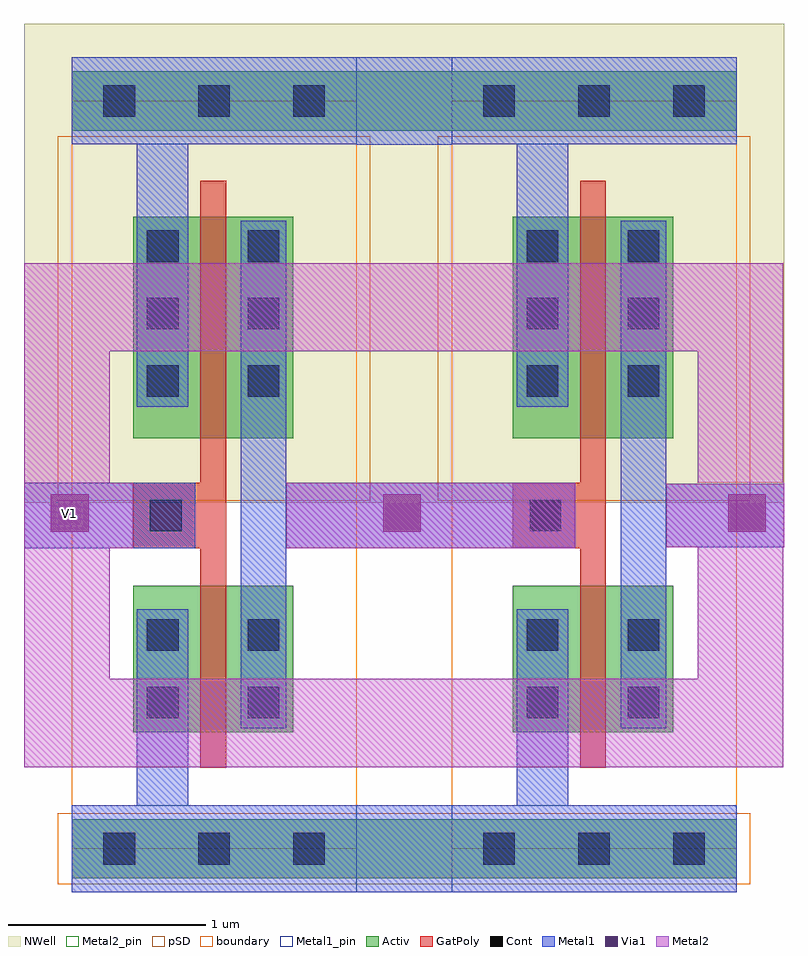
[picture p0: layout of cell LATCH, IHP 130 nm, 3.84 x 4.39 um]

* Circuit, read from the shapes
.subckt LATCH V1 VDD VSS
XM1 sg13g2_inv_1_1/A V1 VSS VSS sg13_lv_nmos w=0.74u l=0.13u
XM2 V1 sg13g2_inv_1_1/A VSS VSS sg13_lv_nmos w=0.74u l=0.13u
XM3 sg13g2_inv_1_1/A V1 VDD VDD sg13_lv_pmos w=1.12u l=0.13u
XM4 V1 sg13g2_inv_1_1/A VDD VDD sg13_lv_pmos w=1.12u l=0.13u
.ends

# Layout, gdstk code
import gdstk
lib = gdstk.Library(unit=1e-6, precision=1e-09)
def R(c, l, rs):  # rectangles x0, y0, x1, y1
    for r in rs: c.add(gdstk.rectangle(r[:2], r[2:], *l))
def A(c, l, x, y, w, h, nx, ny, dx, dy):  # array of equal rectangles
    R(c, l, [(x+i*dx, y+j*dy, x+i*dx+w, y+j*dy+h) for i in range(nx) for j in range(ny)])
def P(c, l, *ps):  # polygons
    for p in ps: c.add(gdstk.Polygon(p, *l))
Activ = (1, 0)
GatPoly = (5, 0)
Cont = (6, 0)
Metal1 = (8, 0)
Metal1_pin = (8, 2)
Metal2 = (10, 0)
Metal2_pin = (10, 2)
pSD = (14, 0)
Via1 = (19, 0)
NWell = (31, 0)
boundary = (189, 4)

sg13g2_inv_1 = lib.new_cell('sg13g2_inv_1')
R(sg13g2_inv_1, Activ, [(3.733,1.363,5.173,1.663), (4.043,2.103,4.853,2.843), (4.043,3.588,4.853,4.708), (3.733,5.143,5.173,5.443)])
P(sg13g2_inv_1, GatPoly, [(4.383,1.923),(4.383,3.033),(4.043,3.033),(4.043,3.363),(4.383,3.363),(4.383,4.888),(4.513,4.888),(4.513,1.923)])
A(sg13g2_inv_1, Cont, 4.113, 3.798, 0.16, 0.16, 1, 3, 0, 0.34)
A(sg13g2_inv_1, Cont, 4.623, 3.798, 0.16, 0.16, 1, 3, 0, 0.34)
R(sg13g2_inv_1, Cont, [(3.893,1.433,4.053,1.593), (3.893,1.433,4.053,1.593), (4.373,1.433,4.533,1.593), (4.373,1.433,4.533,1.593), (4.853,1.433,5.013,1.593), (4.853,1.433,5.013,1.593), (4.113,2.173,4.273,2.333), (4.623,2.173,4.783,2.333), (4.113,2.513,4.273,2.673), (4.623,2.513,4.783,2.673), (4.128,3.118,4.288,3.278), (3.893,5.213,4.053,5.373), (3.893,5.213,4.053,5.373), (4.373,5.213,4.533,5.373), (4.373,5.213,4.533,5.373), (4.853,5.213,5.013,5.373), (4.853,5.213,5.013,5.373)])
R(sg13g2_inv_1, Metal1, [(4.588,2.123,4.818,4.688), (4.043,3.033,4.358,3.363)])
P(sg13g2_inv_1, Metal1, [(4.063,3.748),(4.063,5.073),(3.733,5.073),(3.733,5.513),(5.173,5.513),(5.173,5.073),(4.323,5.073),(4.323,3.748)],
  [(3.733,1.293),(3.733,1.733),(4.063,1.733),(4.063,2.723),(4.323,2.723),(4.323,1.733),(5.173,1.733),(5.173,1.293)])
R(sg13g2_inv_1, Metal1_pin, [(3.733,1.293,5.173,1.733), (4.588,2.123,4.818,4.688), (4.043,3.033,4.358,3.363), (3.733,5.073,5.173,5.513)])
R(sg13g2_inv_1, pSD, [(3.663,1.333,5.243,1.693), (3.663,3.273,5.243,5.113)])
R(sg13g2_inv_1, NWell, [(3.493,3.263,5.413,5.683)])
R(sg13g2_inv_1, boundary, [(3.733,1.513,5.173,5.293)])
sg13g2_inv_1.add(gdstk.Label('Y', (4.713,3.203), layer=8, texttype=25))
sg13g2_inv_1.add(gdstk.Label('A', (4.213,3.193), layer=8, texttype=25))
sg13g2_inv_1.add(gdstk.Label('VSS', (4.453,1.493), layer=8, texttype=25))
sg13g2_inv_1.add(gdstk.Label('VDD', (4.438,5.293), layer=8, texttype=25))

latch = lib.new_cell('LATCH')
R(latch, Activ, [(7.781,3.971,8.261,4.271), (7.781,7.751,8.263,8.051)])
R(latch, Metal1, [(7.781,3.901,8.261,4.341), (6.1,5.641,6.966,5.971), (7.426,5.641,8.886,5.97), (9.116,5.645,9.941,5.965), (7.781,7.68,8.263,8.121)])
R(latch, Metal2, [(6.1,4.534,9.938,4.98), (9.505,4.534,9.938,5.645), (6.1,4.86,6.533,5.971), (6.1,5.641,6.651,5.971), (7.426,5.641,8.886,5.97), (9.346,5.645,9.941,5.965), (6.1,5.97,6.533,7.081), (9.505,5.97,9.938,7.081), (6.1,6.635,9.938,7.081)])
R(latch, Metal2_pin, [(6.265,5.75,6.395,5.88)])
R(latch, pSD, [(7.851,3.941,8.191,4.301)])
R(latch, Via1, [(6.236,5.723,6.426,5.913), (7.915,5.723,8.105,5.913), (9.66,5.723,9.85,5.913)])
latch.add(gdstk.Reference(sg13g2_inv_1, (2.608,2.608)))
latch.add(gdstk.Reference(sg13g2_inv_1, (4.528,2.608)))
latch.add(gdstk.Label('V1', (6.33,5.815), layer=10, texttype=25))

lib.write_gds('LATCH.gds')
